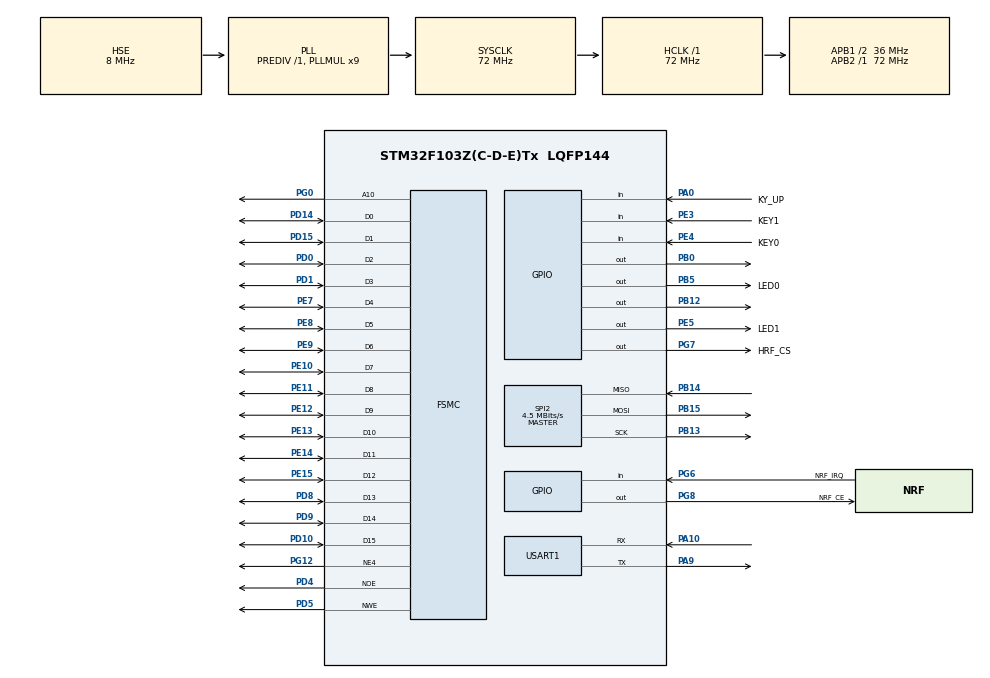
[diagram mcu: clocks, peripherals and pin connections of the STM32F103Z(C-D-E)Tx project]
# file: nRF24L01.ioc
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Mcu.Family=STM32F1
FSMC.AddressSetupTime1=1
SH.FSMC_D1_DA1.0=FSMC_D1,16b-d1
PG6.Signal=GPIO_Input
SPI2.VirtualType=VM_MASTER
PG8.Signal=GPIO_Output
PG6.GPIO_Label=NRF_IRQ
SH.FSMC_NWE.0=FSMC_NWE,Lcd1
PG0.Signal=FSMC_A10
SH.FSMC_D0_DA0.0=FSMC_D0,16b-d1
PB13.Signal=SPI2_SCK
PB15.Signal=SPI2_MOSI
RCC.SYSCLKSource=RCC_SYSCLKSOURCE_PLLCLK
ProjectManager.StackSize=0x400
SPI2.CLKPolarity=SPI_POLARITY_LOW
PE5.GPIO_PuPd=GPIO_PULLUP
RCC.HCLKFreq_Value=72000000
PD4.Signal=FSMC_NOE
RCC.APB2TimFreq_Value=72000000
PB5.PinState=GPIO_PIN_SET
PD0.Signal=FSMC_D2_DA2
PD8.Signal=FSMC_D13_DA13
PE5.Signal=GPIO_Output
OSC_OUT.Mode=HSE-External-Oscillator
SH.FSMC_A10.0=FSMC_A10,A10_1
OSC_OUT.Signal=RCC_OSC_OUT
RCC.AHBFreq_Value=72000000
SPI2.BaudRatePrescaler=SPI_BAUDRATEPRESCALER_8
RCC.PLLMUL=RCC_PLL_MUL9
PG6.GPIO_PuPd=GPIO_PULLDOWN
PE13.Signal=FSMC_D10_DA10
SH.FSMC_D14_DA14.0=FSMC_D14,16b-d1
SH.FSMC_D10_DA10.0=FSMC_D10,16b-d1
PE9.Signal=FSMC_D6_DA6
PA14.Mode=Serial_Wire
PB14.Mode=Full_Duplex_Master
SH.FSMC_D6_DA6.0=FSMC_D6,16b-d1
PE4.GPIO_Label=KEY0
PE5.PinState=GPIO_PIN_SET
SPI2.CalculateBaudRate=4.5 MBits/s
PG7.GPIO_PuPd=GPIO_PULLDOWN
NVIC.SPI2_IRQn=true\:0\:0\:false\:false\:true\:true\:true
PE10.Signal=FSMC_D7_DA7
PE4.Signal=GPIO_Input
SH.FSMC_D5_DA5.0=FSMC_D5,16b-d1
SH.FSMC_D4_DA4.0=FSMC_D4,16b-d1
Mcu.Package=LQFP144
SPI2.Mode=SPI_MODE_MASTER
SH.FSMC_D13_DA13.0=FSMC_D13,16b-d1
PA10.Signal=USART1_RX
SPI2.CLKPhase=SPI_PHASE_1EDGE
PB5.GPIO_Speed=GPIO_SPEED_FREQ_HIGH
PG8.GPIO_Speed=GPIO_SPEED_FREQ_HIGH
PB5.GPIO_Label=LED0
SH.FSMC_D3_DA3.0=FSMC_D3,16b-d1
RCC.APB1TimFreq_Value=72000000
SH.FSMC_D2_DA2.0=FSMC_D2,16b-d1
SPI2.Direction=SPI_DIRECTION_2LINES
PB13.Mode=Full_Duplex_Master
PE7.Signal=FSMC_D4_DA4
PD15.Signal=FSMC_D1_DA1
PG12.Signal=FSMC_NE4
RCC.PLLSourceVirtual=RCC_PLLSOURCE_HSE
FSMC.ExtendedAddressSetupTime1=0
SH.FSMC_D12_DA12.0=FSMC_D12,16b-d1
PG7.Signal=GPIO_Output
PA10.Mode=Asynchronous
FSMC.ExtendedMode1=FSMC_EXTENDED_MODE_ENABLE
PD1.Signal=FSMC_D3_DA3
SH.FSMC_D9_DA9.0=FSMC_D9,16b-d1
PD9.Signal=FSMC_D14_DA14
PD5.Signal=FSMC_NWE
RCC.APB1CLKDivider=RCC_HCLK_DIV2
PA0-WKUP.GPIO_Label=KY_UP
PA0-WKUP.Signal=GPIO_Input
SH.FSMC_D8_DA8.0=FSMC_D8,16b-d1
PG8.GPIO_PuPd=GPIO_PULLDOWN
PB0.GPIO_Speed=GPIO_SPEED_FREQ_HIGH
PD10.Signal=FSMC_D15_DA15
PG8.GPIO_Label=NRF_CE
PA13.Signal=SYS_JTMS-SWDIO
PA9.Mode=Asynchronous
ProjectManager.TargetToolchain=STM32CubeIDE
FSMC.DataSetupTime1=4
PA9.Signal=USART1_TX
OSC_IN.Signal=RCC_OSC_IN
RCC.USBFreq_Value=72000000
PE11.Signal=FSMC_D8_DA8
PB14.Signal=SPI2_MISO
SH.FSMC_D7_DA7.0=FSMC_D7,16b-d1
FSMC.ExtendedDataSetupTime1=3
board=custom
PG12.Mode=NorPsramChipSelect4_1
PB15.Mode=Full_Duplex_Master
PG7.GPIO_Speed=GPIO_SPEED_FREQ_HIGH
RCC.APB2Freq_Value=72000000
PE14.Signal=FSMC_D11_DA11
PE15.Signal=FSMC_D12_DA12
PE8.Signal=FSMC_D5_DA5
PG7.GPIO_Label=HRF_CS
PE3.GPIO_PuPd=GPIO_PULLUP
PA13.Mode=Serial_Wire
Mcu.Name=STM32F103Z(C-D-E)Tx
PE12.Signal=FSMC_D9_DA9
PE4.GPIO_PuPd=GPIO_PULLUP
PD14.Signal=FSMC_D0_DA0
RCC.SYSCLKFreq_VALUE=72000000
PB5.Signal=GPIO_Output
OSC_IN.Mode=HSE-External-Oscillator
PB5.GPIO_PuPd=GPIO_PULLUP
PE5.GPIO_Label=LED1
USART1.VirtualMode=VM_ASYNC
SH.FSMC_D15_DA15.0=FSMC_D15,16b-d1
PA14.Signal=SYS_JTCK-SWCLK
ProjectManager.HeapSize=0x200
SH.FSMC_D11_DA11.0=FSMC_D11,16b-d1
SH.FSMC_NOE.0=FSMC_NOE,Lcd1
NVIC.PriorityGroup=NVIC_PRIORITYGROUP_4
PE5.GPIO_Speed=GPIO_SPEED_FREQ_HIGH
PE3.Signal=GPIO_Input
PE3.GPIO_Label=KEY1
PA0-WKUP.GPIO_PuPd=GPIO_PULLDOWN
RCC.APB1Freq_Value=36000000
PB0.Signal=GPIO_Output
PB12.Signal=GPIO_Output
PB0.GPIO_PuPd=GPIO_PULLUP

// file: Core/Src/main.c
/* USER CODE BEGIN Header */
/**
 ******************************************************************************
 * @file           : main.c
 * @brief          : Main program body
 ******************************************************************************
 * @attention
 *
 * <h2><center>&copy; Copyright (c) 2021 STMicroelectronics.
 * All rights reserved.</center></h2>
 *
 * This software component is licensed by ST under BSD 3-Clause license,
 * the "License"; You may not use this file except in compliance with the
 * License. You may obtain a copy of the License at:
 *                        opensource.org/licenses/BSD-3-Clause
 *
 ******************************************************************************
 */
/* USER CODE END Header */
#include "main.h"
#include "spi.h"
#include "usart.h"
#include "gpio.h"
#include "fsmc.h"

/* USER CODE BEGIN Includes */
#include "key.h"
#include "led.h"
#include "nrf24l01.h"
#include "lcd.h"
/* USER CODE END Includes */

void SystemClock_Config(void);

/* USER CODE BEGIN 0 */
uint8_t Rx_Buf[32];
uint8_t Tx_Buf[32] = "this is a test.";
/* USER CODE END 0 */

int main(void) {
	/* USER CODE BEGIN 1 */
	uint8_t mode, key;
	/* USER CODE END 1 */

	/* MCU Configuration--------------------------------------------------------*/

	/* Reset of all peripherals, Initializes the Flash interface and the Systick. */
	HAL_Init();

	/* Configure the system clock */
	SystemClock_Config();

	/* Initialize all configured peripherals */
	MX_GPIO_Init();
	MX_SPI2_Init();
	MX_USART1_UART_Init();
	MX_FSMC_Init();
	/* USER CODE BEGIN 2 */
	NRF24L01_Init();
	LCD_Init();
	LCD_Clear(WHITE);    //清屏
	POINT_COLOR = BLACK;

	LCD_ShowString(50, 30, 200, 32, 32, (uint8_t*) "My Demo");
	while (NRF24L01_Check()) {
		POINT_COLOR = RED;
		LCD_ShowString(30, 80, 200, 16, 16, (uint8_t*) "NRF24L01 Error...");
		HAL_Delay(200);
		LCD_Fill(30, 80, 230, 96, WHITE);
		HAL_Delay(200);
	}
	LCD_Fill(30, 80, 230, 96, WHITE);
	POINT_COLOR = BLACK;
	LCD_ShowString(30, 80, 200, 16, 16, (uint8_t*) "NRF24L01 OK...");

	while (1) {
		mode = KeyScan(0);
		switch (mode) {
		case KEY0_PRES:
			NRF24L01_RX_Mode();
			LCD_ShowString(30, 110, 200, 16, 16,
					(uint8_t*) "NRF24L01 RX_MODE...");
			break;
		case KEY1_PRES:
			NRF24L01_TX_Mode();
			LCD_ShowString(30, 110, 200, 16, 16,
					(uint8_t*) "NRF24L01 TX_MODE...");
			break;
		default:
			continue;
		}
		break;
	}
	/* USER CODE END 2 */

	/* Infinite loop */
	/* USER CODE BEGIN WHILE */
	if (mode == KEY0_PRES) {
		LCD_ShowString(30, 130, 200, 16, 16, (uint8_t*) "Received DATA:");
		while (1) {
			if (NRF24L01_RxPacket(Rx_Buf) == 0) {
				Rx_Buf[31] = 0;
				LCD_ShowString(30, 150, lcddev.width - 1, 32, 16, Rx_Buf);
			}
		}
	} else if (mode == KEY1_PRES) {
		LCD_ShowString(30, 130, 200, 16, 16, (uint8_t*) "Send DATA:");
		while (1) {
			key = KeyScan(0);
			if (key == KY_UP_PRES) {
				if (NRF24L01_TxPacket(Tx_Buf) == TX_OK) {
					LCD_ShowString(30, 150, lcddev.width - 1, 32, 16, Tx_Buf);
				}
			}
		}
	}
	/* USER CODE END WHILE */

}

void SystemClock_Config(void) {
	RCC_OscInitTypeDef RCC_OscInitStruct = { 0 };
	RCC_ClkInitTypeDef RCC_ClkInitStruct = { 0 };

	/** Initializes the RCC Oscillators according to the specified parameters
	 * in the RCC_OscInitTypeDef structure.
	 */
	RCC_OscInitStruct.OscillatorType = RCC_OSCILLATORTYPE_HSE;
	RCC_OscInitStruct.HSEState = RCC_HSE_ON;
	RCC_OscInitStruct.HSEPredivValue = RCC_HSE_PREDIV_DIV1;
	RCC_OscInitStruct.HSIState = RCC_HSI_ON;
	RCC_OscInitStruct.PLL.PLLState = RCC_PLL_ON;
	RCC_OscInitStruct.PLL.PLLSource = RCC_PLLSOURCE_HSE;
	RCC_OscInitStruct.PLL.PLLMUL = RCC_PLL_MUL9;
	if (HAL_RCC_OscConfig(&RCC_OscInitStruct) != HAL_OK) {
		Error_Handler();
	}
	/** Initializes the CPU, AHB and APB buses clocks
	 */
	RCC_ClkInitStruct.ClockType = RCC_CLOCKTYPE_HCLK | RCC_CLOCKTYPE_SYSCLK
			| RCC_CLOCKTYPE_PCLK1 | RCC_CLOCKTYPE_PCLK2;
	RCC_ClkInitStruct.SYSCLKSource = RCC_SYSCLKSOURCE_PLLCLK;
	RCC_ClkInitStruct.AHBCLKDivider = RCC_SYSCLK_DIV1;
	RCC_ClkInitStruct.APB1CLKDivider = RCC_HCLK_DIV2;
	RCC_ClkInitStruct.APB2CLKDivider = RCC_HCLK_DIV1;

	if (HAL_RCC_ClockConfig(&RCC_ClkInitStruct, FLASH_LATENCY_2) != HAL_OK) {
		Error_Handler();
	}
}

/* USER CODE BEGIN 4 */
// 须在头文件中添加 #include <stdio.h>
//////////////////////////////////////////////////////////////////
// 加入以下代码,支持printf函数,而不需要选择use MicroLIB
// MDK中同样定义了 __GNUC__，使用__ARMCC_VERSION 或  __CC_ARM 区分MDK和STM32CubeIDE
// MDK预定义宏，详见 ：https://www.keil.com/support/man/docs/armcc/armcc_chr1359125007083.htm
#ifdef __CC_ARM // 或 #ifdef __ARMCC_VERSION
  #define PUTCHAR_PROTOTYPE int fputc(int ch, FILE *f)
#else
#define PUTCHAR_PROTOTYPE int __io_putchar(int ch)
#endif
#if 1

FILE __stdout;
//定义_sys_exit()以避免使用半主机模式
void _sys_exit(int x) {
	x = x;
}
//重定义fputc函数
PUTCHAR_PROTOTYPE {
	// 具体哪个串口可以更改huart2为其它串口
	// HAL_UART_Transmit(&huart2, (uint8_t *)&ch, 1 , 0xffff);
	while ((USART1->SR & 0X40) == 0) {
	}; //循环发送,直到发送完毕
	USART1->DR = (uint8_t) ch;

//  while ((USART2->SR & 0X40) == 0) {
//  }; //循环发送,直到发送完毕
//  USART2->DR = (uint8_t) ch;

	return ch;
}
#endif

/* USER CODE END 4 */

void Error_Handler(void) {
	__disable_irq();
	while (1) {
	}
}

/************************ (C) COPYRIGHT STMicroelectronics *****END OF FILE****/
